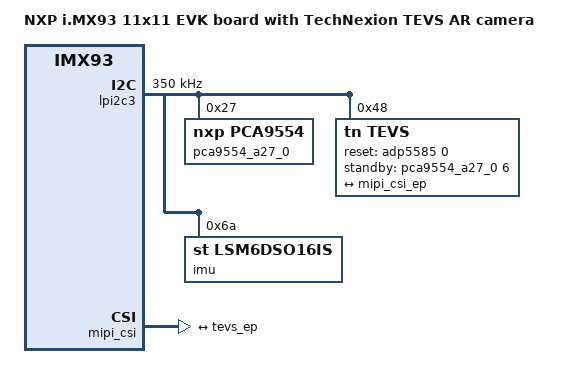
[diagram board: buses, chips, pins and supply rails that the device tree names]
// SPDX-License-Identifier: (GPL-2.0 OR MIT)
/*
 * Copyright 2026 TechNexion Ltd.
 *
 * Author: Nian Yang <nian.yang@technexion.com>
 *
 */

#include "imx93-11x11-evk.dts"

/ {
	model = "NXP i.MX93 11x11 EVK board with TechNexion TEVS AR camera";

	/delete-node/ regulator-dvdd_sel;
	/delete-node/ regulator-dvdd;
	/delete-node/ regulator-vdd;
	/delete-node/ regulator-vddo;
	/delete-node/ regulator-vaa_sel;
	/delete-node/ regulator-avdd;
};

&lpi2c3 {
	clock-frequency = <350000>;

	/delete-node/ ap1302_mipi@3c;
	/delete-node/ mfd-isp@34;

	pca9554_a27_0: pca9554@27 {
		compatible = "nxp,pca9554";
		pinctrl-names = "default";
		reg = <0x27>;
		gpio-controller;
		#gpio-cells = <2>;
		status = "okay";
		gpio-line-names = "EXPOSURE_TRIG_IN1", "FLASH_OUT1", "CAM_SHUTTER1", "XVS1",
							"CSI1_PDB", "CSI1_INT", "INFO_TRIG_IN1", "CSI1_RST_N";
	};

	tevs: tevs@48 {
		compatible = "tn,tevs";
		reg = <0x48>;
		status = "okay";

		reset-gpios   = <&adp5585 0 GPIO_ACTIVE_HIGH>;
		standby-gpios = <&pca9554_a27_0 6 GPIO_ACTIVE_HIGH>;

		port {
			tevs_ep: endpoint {
				remote-endpoint = <&mipi_csi_ep>;
				data-lanes = <1 2>;
				clock-lanes = <0>;
				clock-noncontinuous;
				link-frequencies = /bits/ 64 <400000000>;
			};
		};
	};

	imu: lsm6dsm@6a {
		compatible = "st,lsm6dso16is";
		reg = <0x6a>;
	};
};

&mipi_csi {
	#address-cells = <1>;
	#size-cells = <0>;
	status = "okay";

	/delete-node/ port@0;

	ports {
		port@0 {
			reg = <0>;
			mipi_csi_ep: endpoint {
				remote-endpoint = <&tevs_ep>;
				data-lanes = <1 2>;
				clock-lanes = <0>;
			};
		};
	};
};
